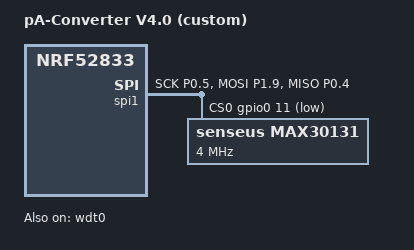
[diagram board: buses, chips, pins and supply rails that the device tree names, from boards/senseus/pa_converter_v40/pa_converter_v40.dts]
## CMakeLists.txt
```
# SPDX-License-Identifier: Apache-2.0
#
# pA-Converter V4.0 / V5.1 共用固件。
# 构建目标决定 RTT 或 USB CDC 传输。
# 说明:  lib/max30131/ 是纯逻辑层,同一份源码既编进固件、也被 tests/ 用 clang
#         在 Mac 上直编直跑(139 项断言)。**不要复制**,只在这里 target_sources 进来。

cmake_minimum_required(VERSION 3.20.0)

# 让 Zephyr 找到本仓库 boards/ 下的自定义板(hwmv2:boards/<vendor>/<board>/)
list(APPEND BOARD_ROOT ${CMAKE_CURRENT_LIST_DIR})
# 让 Zephyr 找到 dts/bindings/ 下的自建 binding 与 vendor 前缀
list(APPEND DTS_ROOT ${CMAKE_CURRENT_LIST_DIR})

find_package(Zephyr REQUIRED HINTS $ENV{ZEPHYR_BASE})
project(pa_converter_fw)

option(SENSUS_USE_DEFAULT_MEASUREMENT_CONFIG
  "Build the portable runtime firmware from source-tree defaults" OFF)
if(SENSUS_USE_DEFAULT_MEASUREMENT_CONFIG OR CONFIG_SENSUS_USE_DEFAULT_MEASUREMENT_CONFIG)
	target_compile_definitions(app PRIVATE SENSUS_USE_DEFAULT_MEASUREMENT_CONFIG=1)
endif()

target_sources(app PRIVATE
  src/main.c
  src/max30131_spi.c
  src/board_guards.c
  src/control_transport.c
  lib/max30131/max30131.c        # 纯逻辑层,与单测同源
  lib/max30131/afe_cfg.c         # 命令解析/校验/写序/审计格式化,同源单测
  lib/max30131/measurement_cfg.c # 通用固件的运行时测量条件事务
)

zephyr_include_directories(
  ${CMAKE_CURRENT_SOURCE_DIR}/src
  ${CMAKE_CURRENT_SOURCE_DIR}/lib/max30131
)
```

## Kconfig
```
source "Kconfig.zephyr"

menu "SensUs firmware"

config SENSUS_USE_DEFAULT_MEASUREMENT_CONFIG
	bool "Use the checked-in runtime firmware defaults"
	help
	  Select the checked-in measurement_config.default.h instead of the
	  developer-only ignored measurement_config.h. Portable runtime images
	  enable this symbol so local settings cannot leak into a release build.

endmenu
```

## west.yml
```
# west 清单 —— ⚠️ **本工程实际不用这份清单构建**,保留作参考/可移植性。
#
# 实际采用的是 **freestanding application** 方式(2026-07-31 落地):
# NCS 工作区独立放在 `~/ncs`(不放进本仓库,免得 6GB 第三方代码污染 git),
# 应用留在本仓库,构建时用绝对路径引用:
#
#   export PATH="<repo>/.venv/bin:$PATH"          # west 装在项目 .venv 里
#   cd ~/ncs && west build -b pa_converter_v40 <repo>/software/firmware
#
# 已装环境(2026-07-31 实测):
#   NCS            v3.4.0        (~/ncs,浅克隆 --narrow -o=--depth=1)
#   Zephyr SDK     1.0.1         (~/zephyr-sdk-1.0.1,仅 arm-zephyr-eabi)
#   west 1.4.0 要求 / 实装 1.5.0;cmake/ninja/gperf/dtc 走 brew
#
# 若将来想改成 T2 星型拓扑(本应用即 manifest repo),用下面这份 + `west init -l`。
# 注意 revision 要与 ~/ncs 里的实际版本一致,否则两套 SDK 会打架。
manifest:
  remotes:
    - name: nrfconnect
      url-base: https://github.com/nrfconnect

  projects:
    - name: sdk-nrf
      remote: nrfconnect
      revision: v3.4.0
      import: true

  self:
    path: application
```

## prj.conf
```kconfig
# pA-Converter V4.0 固件配置
# 板级硬约束(LFRC / DCDCEN=n / 无 UART)在
# boards/arm/pa_converter_v40/pa_converter_v40_defconfig,**不在这里**。

# ---- 外设 ----
CONFIG_GPIO=y
CONFIG_SPI=y

# 🔴 看门狗必配:CR2032 brownout 会落进 POR 盲区、不自恢复(board_guards.c)
CONFIG_WATCHDOG=y

# ---- 数据通路:RTT ----
# 调试口 CN1 只有 SWDIO/SWCLK/nRESET/VTref/GND,**没引 UART**
# ⇒ 不开 BLE 时 RTT 是唯一有线数据通路。
CONFIG_USE_SEGGER_RTT=y
CONFIG_RTT_CONSOLE=y
CONFIG_CONSOLE=y
CONFIG_PRINTK=y
CONFIG_STDOUT_CONSOLE=y

CONFIG_LOG=y
CONFIG_LOG_BACKEND_RTT=y
CONFIG_LOG_MODE_IMMEDIATE=y
CONFIG_LOG_DEFAULT_LEVEL=3
CONFIG_LOG_BACKEND_RTT_OUTPUT_BUFFER_SIZE=256

# 采样率仅 ~0.27 SPS,数据量极小;缓冲给足以免启动期日志把数据行挤掉
CONFIG_SEGGER_RTT_BUFFER_SIZE_UP=4096
# 🔴 64→256(2026-08-10):一条最长命令(全部键 + FORCE)约 111 字符,64 装不下
# ⇒ 会被截成两段,而后半段有可能被当成一条独立命令执行。另外 commit 期间要回读
# 十几个寄存器(几十 ms),这期间上位机可能已经排了第二条命令。
# ⚠️ 保持 NO_BLOCK_SKIP 不改:BLOCK 会拖死采集循环并饿死看门狗,TRIM 会产出
#    可能被误解析的残行。丢整行 + 上位机用 GET 幂等重放,是唯一安全的组合。
CONFIG_SEGGER_RTT_BUFFER_SIZE_DOWN=256

# ---- 🔴 刻意不开 BLE ----
# 用户 2026-07-31 拍板:蓝牙一时半会不用。
# 连带好处:DEC5 缺 820pF 的风险窗口正是 BLE TX 的 mA 级电流突变(见 07 文档 §2.4),
# 不开 BLE 就绕开了它。**开 BLE 前必须先处置 DEC5。**
CONFIG_BT=n

# ---- 健壮性 ----
# 🔴 2048→4096(2026-08-10):一条 OCP 命令就把栈撑爆了
# (ZEPHYR FATAL ERROR 2: Stack overflow ⇒ Halting system)。
# 主因已修(审计行的 640B 格式化缓冲从栈移到静态),但纵深防御照样要加:
# 命令处理链 wait_for_start → poll_control_command → handle_command_line →
# afe_cfg_commit → exec_plan → printk 有 6 层,其中三层各带 ~150B 结构体。
# RAM 只用了 9.3%/128KB,这 2KB 白给。
CONFIG_MAIN_STACK_SIZE=4096
# 栈溢出必须**报出来**而不是静默跑飞 —— 本次能一眼定位就是靠它。
CONFIG_THREAD_STACK_INFO=y
CONFIG_ASSERT=y
# 栈保护用 MPU(nRF52833 有 MPU,由板 defconfig 的 CONFIG_HW_STACK_PROTECTION 开)。
# ⚠️ 2026-07-31 实测:**不要**再加 CONFIG_STACK_SENTINEL —— 它
# `depends on !MPU_STACK_GUARD`,与 HW_STACK_PROTECTION 互斥,同时开会中止构建。
# 硬件 MPU 保护严格强于软件哨兵,所以留 MPU、删 sentinel。

# 本版不用浮点(所有换算走 int64 整数,见 lib/max30131)
CONFIG_CBPRINTF_FP_SUPPORT=n
```

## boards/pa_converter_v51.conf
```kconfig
# V5.1 native USB data/control transport.  This file is applied only to V5.1.
CONFIG_SERIAL=y
CONFIG_UART_LINE_CTRL=y
CONFIG_USB_DEVICE_STACK=y
CONFIG_USB_DEVICE_STACK_NEXT=n
CONFIG_USB_CDC_ACM=y
CONFIG_USB_DEVICE_INITIALIZE_AT_BOOT=n
CONFIG_USB_DEVICE_PRODUCT="pA-Converter V5.1"
CONFIG_USB_DEVICE_REMOTE_WAKEUP=n

# Existing printk data and audit lines are routed unchanged to DATA CDC.
CONFIG_CONSOLE=y
CONFIG_UART_CONSOLE=y
CONFIG_RTT_CONSOLE=n

# Keep RTT logs as an independent diagnostic path when an SWD probe is fitted.
CONFIG_USE_SEGGER_RTT=y
CONFIG_LOG_BACKEND_RTT=y

# SMP CDC supports an application reset into MCUboot's five-second recovery.
CONFIG_NET_BUF=y
CONFIG_ZCBOR=y
CONFIG_MCUMGR=y
CONFIG_UART_MCUMGR=y
CONFIG_MCUMGR_TRANSPORT_UART=y
CONFIG_BASE64=y
CONFIG_CRC=y
CONFIG_MCUMGR_GRP_OS=y
```

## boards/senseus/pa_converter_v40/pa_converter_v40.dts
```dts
/*
 * pA-Converter V4.0 —— 自定义板(nRF52833-QDAA / QFN40)
 *
 * 🔴 引脚全部来自 **PCB 实解**(`hardware/ver4.0/.../pA-converter-v40.kicad_pcb`),
 *    不是原理图导出。依据见 docs/ver4.0/07-可观测性与调试/AFE-v4-调试口真值与bring-up流程.md §1。
 *
 * 🔴 三条硬约束在本文件/defconfig 里结构化落死,不靠 overlay 覆盖:
 *    1. DC/DC 电感未贴 ⇒ 严禁 DCDCEN=1(否则连 SWD 一起砖化)→ defconfig 里
 *       CONFIG_BOARD_ENABLE_DCDC=n,并在 board_guards.c 运行时再断言一次
 *    2. LFXO 已砍 ⇒ 用内部 LFRC(±500ppm)→ defconfig CONFIG_CLOCK_CONTROL_NRF_K32SRC_RC
 *    3. 调试口无 UART ⇒ console 走 RTT,uart0 关闭
 *
 * ⚠️ INTB(MAX30131 的中断输出)在 PCB 上悬空 —— 本板**没有**中断线,
 *    固件只能轮询(用户 2026-07-31 拍板:接受轮询,不飞线)。故此处不声明 int-gpios。
 */

/dts-v1/;

#include <nordic/nrf52833_qdaa.dtsi>
#include <zephyr/dt-bindings/gpio/gpio.h>
#include <zephyr/dt-bindings/pinctrl/nrf-pinctrl.h>
#include <zephyr/dt-bindings/regulator/nrf5x.h>

/ {
	model = "pA-Converter V4.0 (custom)";
	compatible = "senseus,pa-converter-v40";

	chosen {
		zephyr,flash = &flash0;
		zephyr,sram = &sram0;
		zephyr,code-partition = &slot0_partition;
	};

	aliases {
		afe0 = &max30131;
	};
};

&pinctrl {
	/*
	 * SPI1 → MAX30131(4 线 SPI,mode 0,≤8MHz)
	 *   SCLK : P0.05
	 *   MOSI : P1.09   🔴 **在 port 1**,极易误写成 P0.09
	 *   MISO : P0.04
	 *   CSN  : P0.11   (由 cs-gpios 管,不进 pinctrl)
	 */
	spi1_default: spi1_default {
		group1 {
			psels = <NRF_PSEL(SPIM_SCK, 0, 5)>,
				<NRF_PSEL(SPIM_MOSI, 1, 9)>,
				<NRF_PSEL(SPIM_MISO, 0, 4)>;
		};
	};

	spi1_sleep: spi1_sleep {
		group1 {
			psels = <NRF_PSEL(SPIM_SCK, 0, 5)>,
				<NRF_PSEL(SPIM_MOSI, 1, 9)>,
				<NRF_PSEL(SPIM_MISO, 0, 4)>;
			low-power-enable;
		};
	};
};

&spi1 {
	status = "okay";
	compatible = "nordic,nrf-spim";
	pinctrl-0 = <&spi1_default>;
	pinctrl-1 = <&spi1_sleep>;
	pinctrl-names = "default", "sleep";

	/* CSN = P0.11,低有效 */
	cs-gpios = <&gpio0 11 GPIO_ACTIVE_LOW>;

	/*
	 * MAX30131:SPI mode 0(CPOL=0 / CPHA=0)⇒ 不写 spi-cpol / spi-cpha。
	 * 频率保守取 4MHz(器件上限 8MHz);WLP 封装 + 细线,先稳后快。
	 * 🔴 这里只做总线声明,寄存器语义全在 lib/max30131/(已单测),
	 *    不写 Zephyr sensor driver —— 避免把已验证的换算逻辑再抄一遍。
	 */
	max30131: max30131@0 {
		compatible = "senseus,max30131";
		reg = <0>;
		spi-max-frequency = <4000000>;
		label = "MAX30131";
	};
};

&gpio0 {
	status = "okay";
};

/* 🔴 MOSI 在 P1.09,**必须**开 gpio1,否则 pinctrl 拿不到该脚 */
&gpio1 {
	status = "okay";
};

&gpiote {
	status = "okay";
};

/* 看门狗:CR2032 brownout 可落进 POR 盲区不自恢复,必配(见 board_guards.c) */
&wdt0 {
	status = "okay";
};

/*
 * 🔴🔴 DC/DC 严禁使能 —— 本板的 DCC 电感(L4 15nH + L3 10µH + C14 47nF)**未贴**,
 * 置成 DCDC 模式会让芯片彻底不工作,**连 SWD 都上不来**(= 一烧就砖,只能 recover 抢)。
 *
 * SoC 的 nrf52833.dtsi 默认已是 LDO,但这里**显式再写一遍**:
 * 让约束在板文件里可见,而不是依赖上游默认值哪天变了没人发现。
 * (旧机制 CONFIG_BOARD_ENABLE_DCDC 已从 Zephyr 移除,devicetree 是现在唯一入口。)
 */
&reg1 {
	regulator-initial-mode = <NRF5X_REG_MODE_LDO>;
};

/* 调试口 CN1 只有 SWDIO/SWCLK/nRESET/VTref/GND —— 无 UART */
&uart0 {
	status = "disabled";
};

&flash0 {
	partitions {
		compatible = "fixed-partitions";
		#address-cells = <1>;
		#size-cells = <1>;

		/* 无 MCUboot(无 OTA 需求):整片给 app,尾部留 settings */
		slot0_partition: partition@0 {
			label = "image-0";
			reg = <0x00000000 0x0007E000>;
		};

		storage_partition: partition@7e000 {
			label = "storage";
			reg = <0x0007E000 0x00002000>;
		};
	};
};
```

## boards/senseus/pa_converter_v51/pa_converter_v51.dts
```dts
/*
 * pA-Converter V5.1 -- nRF52833-QDAA + MAX30131 + USB-C.
 *
 * Pin/net evidence: SensUs-HW hardware/ver5.1/pA-converter-v51 source PCB.
 * The MAX30131 bus and WE/RE/CE nets are unchanged from V4.0. INTB is still
 * not routed, so the shared electrochemistry implementation remains polling
 * based. VBUS feeds VDDH; REG0 must be programmed to 3.3 V in UICR.
 */

/dts-v1/;

#include <nordic/nrf52833_qdaa.dtsi>
#include <zephyr/dt-bindings/gpio/gpio.h>
#include <zephyr/dt-bindings/pinctrl/nrf-pinctrl.h>
#include <zephyr/dt-bindings/regulator/nrf5x.h>

/ {
	model = "pA-Converter V5.1 (custom, USB)";
	compatible = "senseus,pa-converter-v51";

	chosen {
		zephyr,flash = &flash0;
		zephyr,sram = &sram0;
		zephyr,code-partition = &slot0_partition;
		zephyr,uart-mcumgr = &cdc_acm_uart0;
		zephyr,console = &cdc_acm_uart1;
	};

	aliases {
		afe0 = &max30131;
	};
};

&pinctrl {
	/* SPI1 -> MAX30131: SCLK P0.05, MOSI P1.09, MISO P0.04. */
	spi1_default: spi1_default {
		group1 {
			psels = <NRF_PSEL(SPIM_SCK, 0, 5)>,
				<NRF_PSEL(SPIM_MOSI, 1, 9)>,
				<NRF_PSEL(SPIM_MISO, 0, 4)>;
		};
	};

	spi1_sleep: spi1_sleep {
		group1 {
			psels = <NRF_PSEL(SPIM_SCK, 0, 5)>,
				<NRF_PSEL(SPIM_MOSI, 1, 9)>,
				<NRF_PSEL(SPIM_MISO, 0, 4)>;
			low-power-enable;
		};
	};
};

&spi1 {
	status = "okay";
	compatible = "nordic,nrf-spim";
	pinctrl-0 = <&spi1_default>;
	pinctrl-1 = <&spi1_sleep>;
	pinctrl-names = "default", "sleep";
	cs-gpios = <&gpio0 11 GPIO_ACTIVE_LOW>;

	max30131: max30131@0 {
		compatible = "senseus,max30131";
		reg = <0>;
		spi-max-frequency = <4000000>;
		label = "MAX30131";
	};
};

&gpio0 {
	status = "okay";
};

/* MOSI is on P1.09, so GPIO1 must remain enabled. */
&gpio1 {
	status = "okay";
};

&gpiote {
	status = "okay";
};

&wdt0 {
	status = "okay";
};

/* DCC is unconnected and the REG1 DC/DC inductor is not fitted. */
&reg1 {
	regulator-initial-mode = <NRF5X_REG_MODE_LDO>;
};

&reg0 {
	/* nRF52833 has no REG0 DC/DC control; keep the upstream HV node disabled. */
	status = "disabled";
};

/* The PCB has no physical UART connection. */
&uart0 {
	status = "disabled";
};

&flash0 {
	partitions {
		compatible = "fixed-partitions";
		#address-cells = <1>;
		#size-cells = <1>;

		boot_partition: partition@0 {
			label = "mcuboot";
			reg = <0x00000000 0x00018000>;
		};

		slot0_partition: partition@18000 {
			label = "image-0";
			reg = <0x00018000 0x0002e000>;
		};

		slot1_partition: partition@46000 {
			label = "image-1";
			reg = <0x00046000 0x0002e000>;
		};

		storage_partition: partition@74000 {
			label = "storage";
			reg = <0x00074000 0x0000c000>;
		};
	};
};

zephyr_udc0: &usbd {
	compatible = "nordic,nrf-usbd";
	status = "okay";

	cdc_acm_uart0: cdc_acm_uart0 {
		compatible = "zephyr,cdc-acm-uart";
		label = "pA-Converter V5.1 SMP";
	};

	cdc_acm_uart1: cdc_acm_uart1 {
		compatible = "zephyr,cdc-acm-uart";
		label = "pA-Converter V5.1 DATA";
	};
};
```

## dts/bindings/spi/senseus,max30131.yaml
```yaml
# MAX30131 单通道集成电化学 AFE(SPI 从设备)的最小 binding。
#
# 只为让 Zephyr 生成 SPI_DT_SPEC_GET() 需要的 devicetree 宏 ——
# 🔴 **刻意不写成 Zephyr sensor driver**:寄存器语义、FIFO 解包、counts↔电流
#    全在 lib/max30131/(139 项断言已钉死),写 driver 等于把已验证的逻辑再抄一遍。
#
# 时序:SPI mode 0(CPOL=0/CPHA=0)⇒ dts 里不写 spi-cpol/spi-cpha;上限 8MHz。

description: MAX30131 single-channel electrochemical AFE (SPI)

compatible: "senseus,max30131"

include: [spi-device.yaml]
```

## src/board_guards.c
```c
#include "board_guards.h"

#include <zephyr/kernel.h>
#include <zephyr/drivers/watchdog.h>
#include <zephyr/logging/log.h>
#include <nrfx.h>
#include <hal/nrf_power.h>
#include <errno.h>

LOG_MODULE_REGISTER(guards, CONFIG_LOG_DEFAULT_LEVEL);

/*
 * 喂狗窗口。轮询周期由 SENS_PERIOD 定(0x5 档 ≈3.757s),再加 FIFO 批量等待,
 * 最坏一轮可能几十秒。取 60s 上限,给足余量又不至于让真死机拖太久。
 */
#define WDT_WINDOW_MAX_MS 60000U

static const struct device *wdt_dev;
static int wdt_ch = -1;

#if defined(CONFIG_BOARD_PA_CONVERTER_V51)
static uint32_t boot_uicr_approtect;
static uint32_t boot_uicr_regout0;
static nrf_power_mainregstatus_t boot_mainregstatus;
#endif

int board_guards_preflight(void)
{
#if defined(CONFIG_BOARD_PA_CONVERTER_V51)
	bool bad = false;

	/* Read only: application firmware never writes UICR. */
	boot_uicr_approtect = NRF_UICR->APPROTECT;
	boot_uicr_regout0 = NRF_UICR->REGOUT0;
	boot_mainregstatus = nrf_power_mainregstatus_get(NRF_POWER);

	if (nrf_power_dcdcen_get(NRF_POWER)) {
		nrf_power_dcdcen_set(NRF_POWER, false);
		bad = true;
	}
	if ((boot_uicr_approtect & UICR_APPROTECT_PALL_Msk) !=
	    UICR_APPROTECT_PALL_HwDisabled) {
		bad = true;
	}
	if ((boot_uicr_regout0 & UICR_REGOUT0_VOUT_Msk) !=
	    UICR_REGOUT0_VOUT_3V3) {
		bad = true;
	}
	if (boot_mainregstatus != NRF_POWER_MAINREGSTATUS_HIGH) {
		bad = true;
	}

	return bad ? -EPERM : 0;
#else
	return 0;
#endif
}

/* ------------------------------------------------------------------ */
/* [1] DCDCEN 断言                                                     */
/* ------------------------------------------------------------------ */
/*
 * 🔴 本板 DC/DC 的 LC(L4 15nH + L3 10µH + C14 47nF)**未贴**。
 * 若 DCDCEN=1,芯片会因为没有电感而彻底不工作 —— 连 SWD 都上不来,
 * 也就是说**一旦烧进去就再也连不上、只能靠 recover 抢**。
 *
 * defconfig 里已 CONFIG_BOARD_ENABLE_DCDC=n;这里在运行时再确认一次,
 * 防止将来有人加了 overlay / prj.conf 覆盖把它打开。
 * 发现被打开就**立刻关掉**并大声报错 —— 关掉比继续跑安全。
 */
static void assert_dcdc_disabled(void)
{
	if (nrf_power_dcdcen_get(NRF_POWER)) {
		LOG_ERR("🔴 DCDCEN=1 但本板未贴 DC/DC 电感 —— 立即关闭。"
			"检查是否有 overlay/prj.conf 打开了 CONFIG_BOARD_ENABLE_DCDC");
		nrf_power_dcdcen_set(NRF_POWER, false);
	} else {
#if defined(CONFIG_BOARD_PA_CONVERTER_V51)
		LOG_INF("DCDCEN=0 OK(LDO mode)");
#else
		LOG_INF("DCDCEN=0 OK(LDO 模式,radio 电流约 2x,续航按此预算)");
#endif
	}
}

/* ------------------------------------------------------------------ */
/* [2] POFCON ≈ 2.0V                                                   */
/* ------------------------------------------------------------------ */
/*
 * 🔴 为什么必须配:CR2032 内阻随放电与低温上升,BLE/采样瞬时电流会把轨拉出
 * 一个凹陷。若凹陷落进「低于工作电压但高于 POR 复位阈值」的盲区,
 * 芯片会停在未定义状态而**不复位、不自恢复**。POF 在 2.0V 就主动告警/复位,
 * 把盲区堵掉。
 *
 * 本板 VDD = VDDH = +BATT(normal voltage mode),所以用 THRESHOLD 而不是
 * THRESHOLDVDDH。2.0V 与 05 文档的 EOL 口径一致(CR2032 到 2.0V 判 EOL)。
 */
static void setup_power_fail_comparator(void)
{
	nrf_power_pofcon_set(NRF_POWER, true, NRF_POWER_POFTHR_V20);
#if defined(CONFIG_BOARD_PA_CONVERTER_V51)
	nrf_power_pofcon_vddh_set(NRF_POWER, NRF_POWER_POFTHRVDDH_V42);
	LOG_INF("POFCON = ON @2.0V VDD / 4.2V VDDH(USB high-voltage mode)");
#else
	LOG_INF("POFCON = ON @2.0V(VDD=VDDH normal voltage mode)");
	#endif
}

/* ------------------------------------------------------------------ */
/* [3] 看门狗                                                          */
/* ------------------------------------------------------------------ */
static int setup_watchdog(void)
{
	wdt_dev = DEVICE_DT_GET(DT_NODELABEL(wdt0));

	if (!device_is_ready(wdt_dev)) {
		LOG_ERR("watchdog device not ready");
		return -ENODEV;
	}

	struct wdt_timeout_cfg cfg = {
		.window = { .min = 0U, .max = WDT_WINDOW_MAX_MS },
		.callback = NULL, /* 直接复位,不做 pre-reset 回调 */
		.flags = WDT_FLAG_RESET_SOC,
	};

	wdt_ch = wdt_install_timeout(wdt_dev, &cfg);
	if (wdt_ch < 0) {
		LOG_ERR("wdt_install_timeout failed: %d", wdt_ch);
		return wdt_ch;
	}

	/*
	 * 🔴 WDT_OPT_PAUSE_HALTED_BY_DBG 必须给 —— 否则调试器一 halt 就被狗咬,
	 * 单步/断点全都没法用。nRF52 的 WDT 一旦 start 就**无法停止**(除复位),
	 * 所以这个选项是调试期的唯一出路。
	 */
	int rc = wdt_setup(wdt_dev, WDT_OPT_PAUSE_HALTED_BY_DBG);

	if (rc) {
		LOG_ERR("wdt_setup failed: %d", rc);
		return rc;
	}

	LOG_INF("watchdog armed, window %u ms (paused while halted by debugger)",
		WDT_WINDOW_MAX_MS);
	return 0;
}

/* ------------------------------------------------------------------ */
int board_guards_init(void)
{
	int rc = board_guards_preflight();

	if (rc != 0) {
#if defined(CONFIG_BOARD_PA_CONVERTER_V51)
		LOG_ERR("V5.1 power/UICR audit failed: APPROTECT=0x%08x "
			"REGOUT0=0x%08x MAINREGSTATUS=%u (required: 0x5a, 3.3V, VDDH)",
			boot_uicr_approtect, boot_uicr_regout0,
			(unsigned)boot_mainregstatus);
#else
		LOG_ERR("board preflight failed: %d", rc);
	#endif
		return rc;
	}

#if defined(CONFIG_BOARD_PA_CONVERTER_V51)
	LOG_INF("V5.1 UICR/power audit OK: APPROTECT=0x%02x REGOUT0=3.3V VDDH=active",
		(unsigned)(boot_uicr_approtect & UICR_APPROTECT_PALL_Msk));
#endif

	assert_dcdc_disabled();
	setup_power_fail_comparator();

	rc = setup_watchdog();

	if (rc) {
		/*
		 * 看门狗装不上就不要继续采集:brownout 落进 POR 盲区时
		 * 没有任何自恢复手段,现场会变成"设备静默"而非"设备重启",
		 * 排查代价高得多。
		 */
		LOG_ERR("🔴 看门狗未就绪 —— 拒绝进入采集(brownout 无自恢复路径)");
	}
	return rc;
}

void board_guards_feed(void)
{
	if (wdt_dev != NULL && wdt_ch >= 0) {
		(void)wdt_feed(wdt_dev, wdt_ch);
	}
}
```

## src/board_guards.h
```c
/*
 * 板级守卫 —— 把 docs/ver4.0/07 §3.5 的「三条焊死项」变成开机就执行的代码,
 * 而不是文档里的一句叮嘱。
 *
 *   1. DCDCEN 必须为 0(DC/DC 电感未贴,置 1 = 连 SWD 一起砖化)
 *   2. POFCON ≈ 2.0V(CR2032 brownout 会落进 POR 盲区、不自恢复)
 *   3. 看门狗必配(同上;唯一的自恢复手段)
 */

#ifndef BOARD_GUARDS_H_
#define BOARD_GUARDS_H_

/* V5.1 在启动 USB/AFE 前只读核验 UICR 与高压供电状态。 */
int board_guards_preflight(void);

/*
 * 开机尽早调用(main 的第一件事)。
 * 返回 0 成功;负 errno 表示看门狗装不上(此时**不要**继续跑采集,
 * 因为失去了 brownout 的唯一自恢复路径)。
 */
int board_guards_init(void);

/* 喂狗。轮询主循环每轮必须调一次。 */
void board_guards_feed(void);

#endif /* BOARD_GUARDS_H_ */
```

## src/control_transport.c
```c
#include "control_transport.h"

#include <zephyr/kernel.h>
#include <zephyr/sys/util.h>

#if defined(CONFIG_BOARD_PA_CONVERTER_V51)

#include <nrfx.h>
#include <zephyr/device.h>
#include <zephyr/devicetree.h>
#include <zephyr/drivers/uart.h>
#include <zephyr/usb/usb_device.h>
#include <errno.h>

BUILD_ASSERT(DT_NODE_HAS_COMPAT(DT_CHOSEN(zephyr_console), zephyr_cdc_acm_uart),
	     "V5.1 DATA transport must be a CDC ACM UART");

static const struct device *const data_cdc =
	DEVICE_DT_GET(DT_CHOSEN(zephyr_console));

int control_transport_init(void)
{
	uint32_t dtr = 0U;
	int rc;

	if (!device_is_ready(data_cdc)) {
		return -ENODEV;
	}

	/*
	 * V5.1 fits the small HFXO covered by the 1024 us recommendation in
	 * the nRF52833 product specification.  USB starts the HFXO, so this
	 * register must be set before usb_enable().
	 */
	NRF_CLOCK->HFXODEBOUNCE = CLOCK_HFXODEBOUNCE_HFXODEBOUNCE_Db1024us;

	rc = usb_enable(NULL);
	if (rc != 0) {
		return rc;
	}

	/* Do not arm the watchdog until the host has opened the DATA port. */
	while (dtr == 0U) {
		rc = uart_line_ctrl_get(data_cdc, UART_LINE_CTRL_DTR, &dtr);
		if (rc != 0) {
			return rc;
		}
		k_sleep(K_MSEC(100));
	}

	return 0;
}

int control_transport_read_char(char *ch)
{
	unsigned char byte;
	int rc;

	if (ch == NULL) {
		return -EINVAL;
	}

	rc = uart_poll_in(data_cdc, &byte);
	if (rc == 0) {
		*ch = (char)byte;
		return 1;
	}
	if (rc == -1) {
		return 0;
	}
	return rc;
}

#else

#include <SEGGER_RTT.h>
#include <errno.h>

int control_transport_init(void)
{
	return 0;
}

int control_transport_read_char(char *ch)
{
	if (ch == NULL) {
		return -EINVAL;
	}
	return SEGGER_RTT_Read(0U, ch, 1U) == 1U ? 1 : 0;
}

#endif
```

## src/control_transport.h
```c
#ifndef CONTROL_TRANSPORT_H_
#define CONTROL_TRANSPORT_H_

/*
 * Initialize the board's command/data transport before emitting CFG_BOOT.
 * V4.0 uses RTT and needs no explicit initialization.  V5.1 enables USB and
 * waits until the host opens the DATA CDC interface so startup audit lines
 * cannot be silently lost.
 */
int control_transport_init(void);

/* Non-blocking single-character receive: 1=character, 0=none, <0=error. */
int control_transport_read_char(char *ch);

#endif /* CONTROL_TRANSPORT_H_ */
```

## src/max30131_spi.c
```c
#include "max30131_spi.h"
#include "max30131_regs.h"

#include <zephyr/drivers/spi.h>
#include <zephyr/logging/log.h>
#include <errno.h>

LOG_MODULE_REGISTER(afe_spi, CONFIG_LOG_DEFAULT_LEVEL);

/*
 * 🔴 帧结构(datasheet Fig.24/25/26)—— 这是本器件最容易写错的一处:
 *
 *     byte0 = A[7:0]  完整 8 位寄存器地址
 *     byte1 = 命令字节,**R/W 在 bit7**(W=0 / R=1),bit[6:0] don't care
 *     byte2.. = 数据
 *
 * 常见错法:`(addr << 1) | rw` —— 那是别家器件的约定,这颗**不是**。
 * 常量 MAX30131_SPI_CMD_WRITE / _READ 来自 lib 的 max30131_regs.h,与单测同源。
 *
 * 时序:SPI mode 0(CPOL=0/CPHA=0),≤8MHz;本板 devicetree 取 4MHz。
 * CS 由 Zephyr 依 cs-gpios(P0.11)自动拉低整帧。
 */

#define AFE_NODE DT_ALIAS(afe0)

/*
 * ⚠️ 2026-07-31 实测:SPI_DT_SPEC_GET 的第三个 delay 参数**已弃用**
 * (Zephyr 4.x:"Delay parameter in SPI DT macros is deprecated, use DT prop instead"),
 * 现在是两参数,CS 时序改由 devicetree 属性给。本器件无特殊 CS 建立/保持要求,
 * 不需要任何 delay 属性。
 */
static const struct spi_dt_spec afe_bus =
	SPI_DT_SPEC_GET(AFE_NODE, SPI_WORD_SET(8) | SPI_TRANSFER_MSB | SPI_OP_MODE_MASTER);

int max30131_spi_init(void)
{
	if (!spi_is_ready_dt(&afe_bus)) {
		LOG_ERR("SPI bus for MAX30131 not ready");
		return -ENODEV;
	}
	return 0;
}

int max30131_spi_write_reg(uint8_t addr, uint8_t val)
{
	uint8_t tx[3] = { addr, MAX30131_SPI_CMD_WRITE, val };
	struct spi_buf txb = { .buf = tx, .len = sizeof(tx) };
	struct spi_buf_set txs = { .buffers = &txb, .count = 1 };

	int rc = spi_write_dt(&afe_bus, &txs);

	if (rc) {
		LOG_ERR("write reg 0x%02x = 0x%02x failed: %d", addr, val, rc);
	}
	return rc;
}

int max30131_spi_read_burst(uint8_t addr, uint8_t *buf, size_t len)
{
	if (buf == NULL || len == 0U) {
		return -EINVAL;
	}

	uint8_t tx[2] = { addr, MAX30131_SPI_CMD_READ };

	/*
	 * 一次 transceive 完成:先发 2 字节(地址+读命令),再收 len 字节。
	 * rx 侧用一个 2 字节的丢弃段对齐发送阶段 —— Zephyr 的 buf_set 是按段
	 * 顺序对齐的,不能只给一个 len 长的 rx buffer,否则会把地址回声读进来。
	 */
	struct spi_buf txb[2] = {
		{ .buf = tx, .len = sizeof(tx) },
		{ .buf = NULL, .len = len }, /* 读阶段发 dummy(NULL = 发 0) */
	};
	struct spi_buf rxb[2] = {
		{ .buf = NULL, .len = sizeof(tx) }, /* 丢弃发送阶段的回声 */
		{ .buf = buf, .len = len },
	};
	struct spi_buf_set txs = { .buffers = txb, .count = 2 };
	struct spi_buf_set rxs = { .buffers = rxb, .count = 2 };

	int rc = spi_transceive_dt(&afe_bus, &txs, &rxs);

	if (rc) {
		LOG_ERR("read burst 0x%02x (%u B) failed: %d", addr, (unsigned)len, rc);
	}
	return rc;
}

int max30131_spi_read_reg(uint8_t addr, uint8_t *val)
{
	return max30131_spi_read_burst(addr, val, 1U);
}
```

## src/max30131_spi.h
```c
/*
 * MAX30131 SPI 传输层 —— 只管「把字节搬进搬出」,不含任何寄存器语义。
 *
 * 分层理由:所有会算错的东西(寄存器编码、FIFO 解包、counts↔电流、DAC 布局)
 * 都在 lib/max30131/ 里,已用 clang 在 Mac 上单测钉死(139 项断言)。
 * 本文件是薄的、无法在主机上自证的那一层,回板时才插。
 */

#ifndef MAX30131_SPI_H_
#define MAX30131_SPI_H_

#include <stdint.h>
#include <stddef.h>
#include <zephyr/device.h>

/* 取 devicetree 里 alias afe0 指向的 SPI 从设备;失败返回负 errno */
int max30131_spi_init(void);

/* 单寄存器写 */
int max30131_spi_write_reg(uint8_t addr, uint8_t val);

/* 单寄存器读 */
int max30131_spi_read_reg(uint8_t addr, uint8_t *val);

/*
 * 连续读 len 字节(FIFO 与多字节寄存器用)。
 * 🔴 FIFO_DATA(0x0E)读出的是 3 字节/样本的打包格式,解包必须交
 *    max30131_fifo_unpack(),别在这里自己拆位。
 */
int max30131_spi_read_burst(uint8_t addr, uint8_t *buf, size_t len);

#endif /* MAX30131_SPI_H_ */
```

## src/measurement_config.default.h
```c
#ifndef SENSUS_MEASUREMENT_CONFIG_H
#define SENSUS_MEASUREMENT_CONFIG_H

/* Safe source-tree defaults; the GUI writes measurement_config.h at runtime. */
#define GUI_WP_FSR MAX30131_FSR_2000NA
#define GUI_WP_OFFSET_SEL MAX30131_OFFSET_10PCT_FSR
#define GUI_WP_START_E_MV 200
#define GUI_WP_E_MV 200
#define GUI_PRESTEP_DURATION_MS 0U
#define GUI_MEASUREMENT_DURATION_MS 180000U
#define GUI_IT_ADAPTIVE_STOP 0
#define GUI_IT_USE_EIS 0
#define GUI_IT_EIS_FSR MAX30131_EIS_FSR_40UA
#define GUI_IT_SAMPLE_INTERVAL_MS 100U

#define GUI_MEASUREMENT_MODE_CV 0
#define GUI_WP_V_WE_MV 1200
#define GUI_CV_V_WE_MV 800
#define GUI_CV_LOW_E_MV -600
#define GUI_CV_HIGH_E_MV 600
#define GUI_CV_SCAN_RATE_MV_S 50U
#define GUI_CV_CYCLES 30U
#define GUI_CV_STEP_MV 1U
#define GUI_CV_STEP_INTERVAL_MS 20U
#define GUI_CV_QUIET_DURATION_MS 2000U
#define GUI_CV_EIS_FSR MAX30131_EIS_FSR_40UA

#define GUI_SENS_PERIOD_CODE 0x0U
#define GUI_SENS_PERIOD_MS 124U

#endif
```
